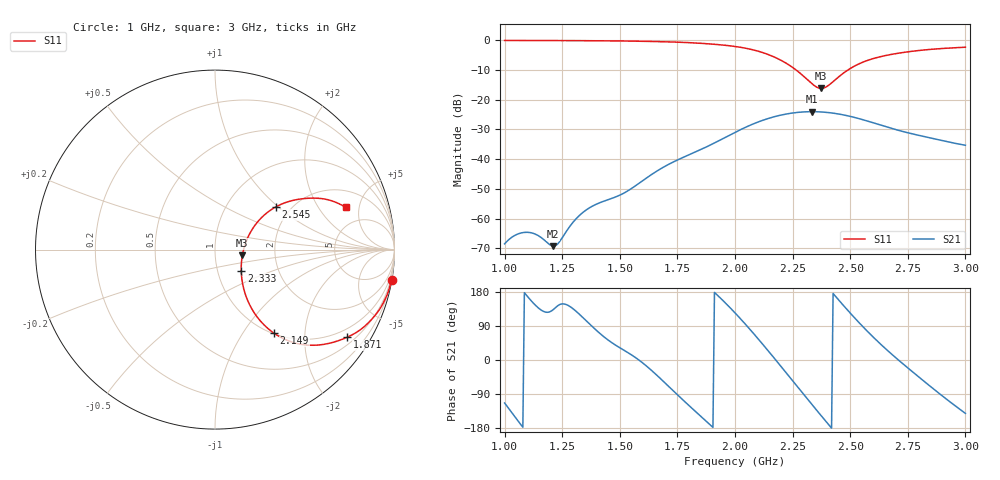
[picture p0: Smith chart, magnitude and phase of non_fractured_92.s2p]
! TOUCHSTONE file generated by CST MICROWAVE STUDIO
! Date and time: Sat Mar  8 13:54:36 2025
! Project name: non_fractured.cst
! Parameters = {B=2.5; D=160; F=5; Feed=2.85625; L=100; M=10; R=0.384908; S=2; Theta=270; length=57.125; wave=114.25}
! Header version: 2024
! Port assignment regex: !\s*Touchstone port\s*([0-9]+)\s*=\s*(CST MWS port|CST DES external port|CST DES block port)\s*(.+)\s* \(\"(.*)\"\)(\s*mode\s*([0-9]+))?.*
! Touchstone port assignment:
! Touchstone port 1 = CST MWS port 1 ("")
! Touchstone port 2 = CST MWS port 2 ("")
# GHz S DB R 50
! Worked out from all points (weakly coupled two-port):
!   304 points, 1 GHz to 3 GHz, reference 50 ohm
!   highest |S21| = -24.00 dB at 2.333 GHz (marker M1); lowest = -69.3 dB at 1.211 GHz (marker M2)
!   lowest |S11| = -16.2 dB at 2.373 GHz (marker M3), VSWR 1.37, Z = 67.8 - j4.31 ohm
!   |S11| at or under -10 dB: 2.266 GHz to 2.489 GHz (223.6 MHz wide, 9.4 % of centre)
!   S12 and S22 are empty: the file has one direction only
!   S11 on the Smith chart (normalised r, x): 1 GHz: 0, -12; 1.871 GHz: 0.71, -3.17; 2.149 GHz: 1.01, -1.39; 2.333 GHz: 1.30, -0.32; 2.545 GHz: 1.68, +0.96; 3 GHz: 3.22, +3.68
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1  -0.02 -9.7  -68.53 -113.5  -200.00 0.0  -200.00 0.0
1.0462  -0.02 -10.4  -65.60 -151.3  -200.00 0.0  -200.00 0.0
1.09901  -0.03 -11.1  -64.64 167.9  -200.00 0.0  -200.00 0.0
1.14521  -0.04 -11.8  -65.71 138.1  -200.00 0.0  -200.00 0.0
1.21122  -0.05 -12.9  -69.31 133.1  -200.00 0.0  -200.00 0.0
1.23102  -0.05 -13.2  -68.50 143.4  -200.00 0.0  -200.00 0.0
1.29043  -0.07 -14.3  -61.89 138.3  -200.00 0.0  -200.00 0.0
1.33663  -0.09 -15.2  -58.15 113.9  -200.00 0.0  -200.00 0.0
1.39604  -0.12 -16.5  -55.24 79.6  -200.00 0.0  -200.00 0.0
1.52145  -0.20 -19.6  -51.28 24.5  -200.00 0.0  -200.00 0.0
1.66667  -0.41 -24.2  -43.74 -43.5  -200.00 0.0  -200.00 0.0
1.87129  -1.08 -33.6  -36.06 -159.4  -200.00 0.0  -200.00 0.0
2.0033  -2.08 -42.4  -30.85 122.3  -200.00 0.0  -200.00 0.0
2.14851  -4.89 -54.8  -26.20 21.0  -200.00 0.0  -200.00 0.0
2.24092  -8.61 -58.0  -24.56 -47.8  -200.00 0.0  -200.00 0.0
2.33333  -14.54 -38.8  -24.00 -117.0  -200.00 0.0  -200.00 0.0
2.33993  -14.96 -35.2  -24.01 -121.9  -200.00 0.0  -200.00 0.0
2.37294  -16.16 -11.5  -24.09 -146.2  -200.00 0.0  -200.00 0.0
2.39934  -15.50 8.3  -24.26 -165.5  -200.00 0.0  -200.00 0.0
2.54455  -7.67 35.1  -26.48 94.6  -200.00 0.0  -200.00 0.0
2.66997  -4.84 29.8  -29.42 20.8  -200.00 0.0  -200.00 0.0
3  -2.30 17.8  -35.32 -140.8  -200.00 0.0  -200.00 0.0
